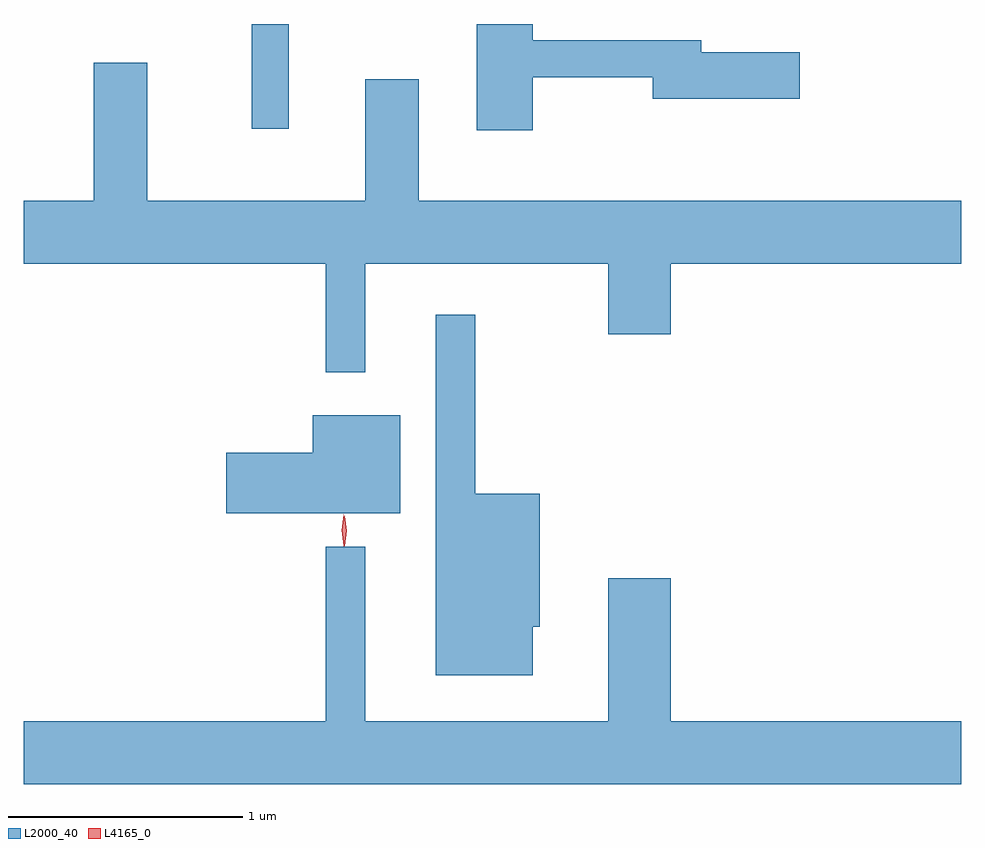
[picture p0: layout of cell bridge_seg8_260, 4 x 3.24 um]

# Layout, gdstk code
import gdstk
lib = gdstk.Library(unit=1e-6, precision=1e-09)
def R(c, l, rs):  # rectangles x0, y0, x1, y1
    for r in rs: c.add(gdstk.rectangle(r[:2], r[2:], *l))
def P(c, l, *ps):  # polygons
    for p in ps: c.add(gdstk.Polygon(p, *l))
L2000_40 = (2000, 40)
L4165_0 = (4165, 0)

bridge_seg8_260 = lib.new_cell('bridge_seg8_260')
R(bridge_seg8_260, L2000_40, [(1232.536,1832.553,1232.694,1832.999)])
P(bridge_seg8_260, L2000_40, [(1233.734,1832.771),(1234.246,1832.771),(1234.246,1832.681),(1234.874,1832.681),(1234.874,1832.879),(1234.454,1832.879),(1234.454,1832.929),(1233.734,1832.929),(1233.734,1832.999),(1233.496,1832.999),(1233.496,1832.546),(1233.734,1832.546)],
  [(1233.019,1831.976),(1234.056,1831.976),(1234.056,1831.676),(1234.324,1831.676),(1234.324,1831.976),(1235.563,1831.976),(1235.563,1832.244),(1233.249,1832.244),(1233.249,1832.764),(1233.021,1832.764),(1233.021,1832.244),(1232.089,1832.244),(1232.089,1832.834),(1231.861,1832.834),(1231.861,1832.244),(1231.563,1832.244),(1231.563,1831.976),(1232.851,1831.976),(1232.851,1831.513),(1233.019,1831.513)],
  [(1233.734,1830.426),(1233.764,1830.426),(1233.764,1830.994),(1233.489,1830.994),(1233.489,1831.758),(1233.321,1831.758),(1233.321,1830.221),(1233.734,1830.221)],
  [(1233.169,1831.329),(1232.796,1831.329),(1232.796,1831.169),(1232.426,1831.169),(1232.426,1830.911),(1233.169,1830.911)],
  [(1235.563,1830.024),(1234.324,1830.024),(1234.324,1830.634),(1234.056,1830.634),(1234.056,1830.024),(1233.019,1830.024),(1233.019,1830.768),(1232.851,1830.768),(1232.851,1830.024),(1231.563,1830.024),(1231.563,1829.756),(1235.563,1829.756)])
P(bridge_seg8_260, L4165_0, [(1232.929,1830.77),(1232.919,1830.838),(1232.928,1830.905),(1232.928,1830.906),(1232.929,1830.905),(1232.939,1830.838),(1232.93,1830.77),(1232.93,1830.77)],
  [(1232.932,1830.773),(1232.932,1830.773),(1232.922,1830.836),(1232.932,1830.899),(1232.932,1830.9),(1232.933,1830.899),(1232.942,1830.836),(1232.933,1830.773)])

lib.write_gds('bridge_seg8_260.gds')
